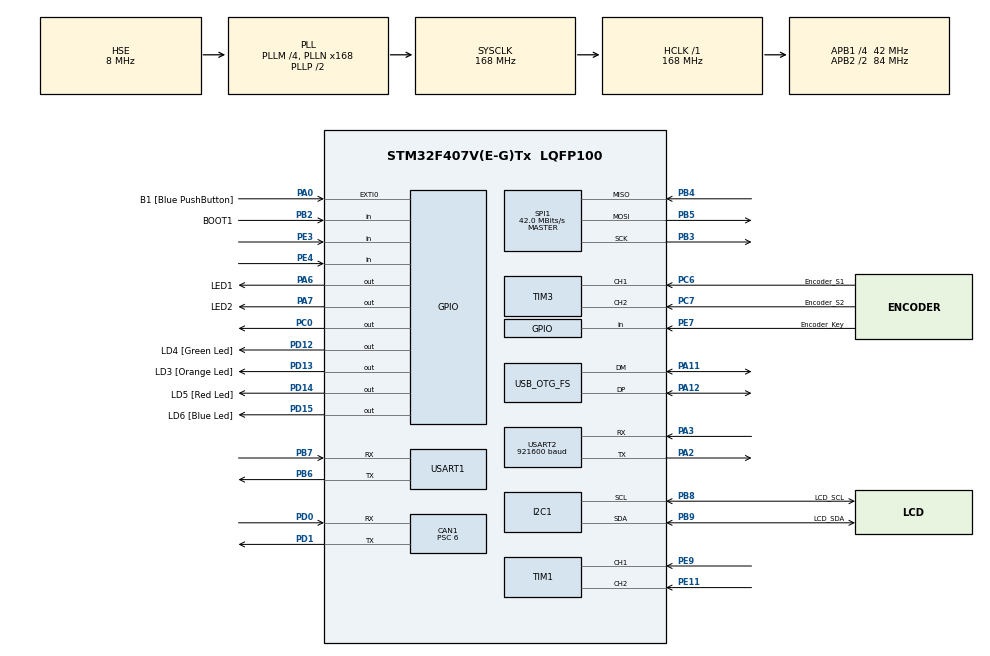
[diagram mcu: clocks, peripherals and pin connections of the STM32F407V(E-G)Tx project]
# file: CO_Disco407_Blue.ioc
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ADC1.Channel-0\#ChannelRegularConversion=ADC_CHANNEL_TEMPSENSOR
ADC1.ExternalTrigConv=ADC_EXTERNALTRIGCONV_T8_TRGO
ADC1.ExternalTrigConvEdge=ADC_EXTERNALTRIGCONVEDGE_FALLING
ADC1.NbrOfConversionFlag=1
ADC1.Rank-0\#ChannelRegularConversion=1
ADC1.SamplingTime-0\#ChannelRegularConversion=ADC_SAMPLETIME_3CYCLES
ADC1.master=1
CAN1.BS1=CAN_BS1_11TQ
CAN1.BS2=CAN_BS2_2TQ
CAN1.CalculateBaudRate=500000
CAN1.CalculateTimeBit=2000
CAN1.CalculateTimeQuantum=142.85714285714286
CAN1.Prescaler=6
Dma.ADC1.5.Direction=DMA_PERIPH_TO_MEMORY
Dma.ADC1.5.FIFOMode=DMA_FIFOMODE_DISABLE
Dma.ADC1.5.Instance=DMA2_Stream4
Dma.ADC1.5.MemDataAlignment=DMA_MDATAALIGN_HALFWORD
Dma.ADC1.5.MemInc=DMA_MINC_ENABLE
Dma.ADC1.5.Mode=DMA_NORMAL
Dma.ADC1.5.PeriphDataAlignment=DMA_PDATAALIGN_HALFWORD
Dma.ADC1.5.PeriphInc=DMA_PINC_DISABLE
Dma.ADC1.5.Priority=DMA_PRIORITY_LOW
Dma.MEMTOMEM.2.Direction=DMA_MEMORY_TO_MEMORY
Dma.MEMTOMEM.2.FIFOMode=DMA_FIFOMODE_ENABLE
Dma.MEMTOMEM.2.FIFOThreshold=DMA_FIFO_THRESHOLD_FULL
Dma.MEMTOMEM.2.Instance=DMA2_Stream0
Dma.MEMTOMEM.2.MemBurst=DMA_MBURST_SINGLE
Dma.MEMTOMEM.2.MemDataAlignment=DMA_MDATAALIGN_BYTE
Dma.MEMTOMEM.2.MemInc=DMA_MINC_ENABLE
Dma.MEMTOMEM.2.Mode=DMA_NORMAL
Dma.MEMTOMEM.2.PeriphBurst=DMA_PBURST_SINGLE
Dma.MEMTOMEM.2.PeriphDataAlignment=DMA_PDATAALIGN_BYTE
Dma.MEMTOMEM.2.PeriphInc=DMA_PINC_ENABLE
Dma.MEMTOMEM.2.Priority=DMA_PRIORITY_VERY_HIGH
Dma.MEMTOMEM.3.Direction=DMA_MEMORY_TO_MEMORY
Dma.MEMTOMEM.3.FIFOMode=DMA_FIFOMODE_ENABLE
Dma.MEMTOMEM.3.FIFOThreshold=DMA_FIFO_THRESHOLD_FULL
Dma.MEMTOMEM.3.Instance=DMA2_Stream5
Dma.MEMTOMEM.3.MemBurst=DMA_MBURST_SINGLE
Dma.MEMTOMEM.3.MemDataAlignment=DMA_MDATAALIGN_HALFWORD
Dma.MEMTOMEM.3.MemInc=DMA_MINC_ENABLE
Dma.MEMTOMEM.3.Mode=DMA_NORMAL
Dma.MEMTOMEM.3.PeriphBurst=DMA_PBURST_SINGLE
Dma.MEMTOMEM.3.PeriphDataAlignment=DMA_PDATAALIGN_HALFWORD
Dma.MEMTOMEM.3.PeriphInc=DMA_PINC_ENABLE
Dma.MEMTOMEM.3.Priority=DMA_PRIORITY_HIGH
Dma.MEMTOMEM.4.Direction=DMA_MEMORY_TO_MEMORY
Dma.MEMTOMEM.4.FIFOMode=DMA_FIFOMODE_ENABLE
Dma.MEMTOMEM.4.FIFOThreshold=DMA_FIFO_THRESHOLD_FULL
Dma.MEMTOMEM.4.Instance=DMA2_Stream3
Dma.MEMTOMEM.4.MemBurst=DMA_MBURST_SINGLE
Dma.MEMTOMEM.4.MemDataAlignment=DMA_MDATAALIGN_WORD
Dma.MEMTOMEM.4.MemInc=DMA_MINC_ENABLE
Dma.MEMTOMEM.4.Mode=DMA_NORMAL
Dma.MEMTOMEM.4.PeriphBurst=DMA_PBURST_SINGLE
Dma.MEMTOMEM.4.PeriphDataAlignment=DMA_PDATAALIGN_WORD
Dma.MEMTOMEM.4.PeriphInc=DMA_PINC_ENABLE
Dma.MEMTOMEM.4.Priority=DMA_PRIORITY_MEDIUM
Dma.Request0=USART2_TX
Dma.Request1=USART2_RX
Dma.Request2=MEMTOMEM
Dma.Request3=MEMTOMEM
Dma.Request4=MEMTOMEM
Dma.Request5=ADC1
Dma.Request6=TIM8_UP
Dma.Request7=TIM3_CH4/UP
Dma.TIM3_CH4/UP.7.Direction=DMA_PERIPH_TO_MEMORY
Dma.TIM3_CH4/UP.7.FIFOMode=DMA_FIFOMODE_DISABLE
Dma.TIM3_CH4/UP.7.Instance=DMA1_Stream2
Dma.TIM3_CH4/UP.7.MemDataAlignment=DMA_MDATAALIGN_HALFWORD
Dma.TIM3_CH4/UP.7.MemInc=DMA_MINC_ENABLE
Dma.TIM3_CH4/UP.7.Mode=DMA_NORMAL
Dma.TIM3_CH4/UP.7.PeriphDataAlignment=DMA_PDATAALIGN_HALFWORD
Dma.TIM3_CH4/UP.7.PeriphInc=DMA_PINC_DISABLE
Dma.TIM3_CH4/UP.7.Priority=DMA_PRIORITY_LOW
Dma.TIM8_UP.6.Direction=DMA_PERIPH_TO_MEMORY
Dma.TIM8_UP.6.FIFOMode=DMA_FIFOMODE_DISABLE
Dma.TIM8_UP.6.Instance=DMA2_Stream1
Dma.TIM8_UP.6.MemDataAlignment=DMA_MDATAALIGN_HALFWORD
Dma.TIM8_UP.6.MemInc=DMA_MINC_ENABLE
Dma.TIM8_UP.6.Mode=DMA_NORMAL
Dma.TIM8_UP.6.PeriphDataAlignment=DMA_PDATAALIGN_HALFWORD
Dma.TIM8_UP.6.PeriphInc=DMA_PINC_DISABLE
Dma.TIM8_UP.6.Priority=DMA_PRIORITY_LOW
Dma.USART2_RX.1.Direction=DMA_PERIPH_TO_MEMORY
Dma.USART2_RX.1.FIFOMode=DMA_FIFOMODE_DISABLE
Dma.USART2_RX.1.Instance=DMA1_Stream5
Dma.USART2_RX.1.MemDataAlignment=DMA_MDATAALIGN_BYTE
Dma.USART2_RX.1.MemInc=DMA_MINC_ENABLE
Dma.USART2_RX.1.Mode=DMA_NORMAL
Dma.USART2_RX.1.PeriphDataAlignment=DMA_PDATAALIGN_BYTE
Dma.USART2_RX.1.PeriphInc=DMA_PINC_DISABLE
Dma.USART2_RX.1.Priority=DMA_PRIORITY_LOW
Dma.USART2_TX.0.Direction=DMA_MEMORY_TO_PERIPH
Dma.USART2_TX.0.FIFOMode=DMA_FIFOMODE_DISABLE
Dma.USART2_TX.0.Instance=DMA1_Stream6
Dma.USART2_TX.0.MemDataAlignment=DMA_MDATAALIGN_BYTE
Dma.USART2_TX.0.MemInc=DMA_MINC_ENABLE
Dma.USART2_TX.0.Mode=DMA_NORMAL
Dma.USART2_TX.0.PeriphDataAlignment=DMA_PDATAALIGN_BYTE
Dma.USART2_TX.0.PeriphInc=DMA_PINC_DISABLE
Dma.USART2_TX.0.Priority=DMA_PRIORITY_LOW
I2C1.I2C_Mode=I2C_Fast
Mcu.Family=STM32F4
Mcu.Name=STM32F407V(E-G)Tx
Mcu.Package=LQFP100
Mcu.UserConstants=LCD_I2C,$$_I2C1_IP_HANDLE_$$;Tim_3_Encoder,$$_TIM3_IP_HANDLE_$$;Tim_1_Encoder,$$_TIM1_IP_HANDLE_$$
NVIC.ADC_IRQn=true\:0\:0\:false\:false\:true\:true\:true\:true
NVIC.DMA1_Stream2_IRQn=true\:0\:0\:false\:false\:true\:false\:true\:true
NVIC.DMA1_Stream5_IRQn=true\:0\:0\:false\:false\:true\:false\:true\:true
NVIC.DMA1_Stream6_IRQn=true\:0\:0\:false\:false\:true\:false\:true\:true
NVIC.DMA2_Stream0_IRQn=true\:0\:0\:false\:false\:true\:false\:true\:true
NVIC.DMA2_Stream1_IRQn=true\:0\:0\:false\:false\:true\:false\:true\:true
NVIC.DMA2_Stream4_IRQn=true\:0\:0\:false\:false\:true\:false\:true\:true
NVIC.I2C1_ER_IRQn=true\:0\:0\:false\:false\:true\:true\:true\:true
NVIC.I2C1_EV_IRQn=true\:0\:0\:false\:false\:true\:true\:true\:true
NVIC.OTG_FS_IRQn=true\:0\:0\:false\:false\:true\:false\:true\:true
NVIC.PriorityGroup=NVIC_PRIORITYGROUP_0
NVIC.RTC_Alarm_IRQn=true\:0\:0\:false\:false\:true\:true\:true\:true
NVIC.TIM3_IRQn=true\:0\:0\:false\:false\:true\:true\:true\:true
NVIC.TIM4_IRQn=true\:0\:0\:false\:false\:true\:true\:true\:true
NVIC.TIM6_DAC_IRQn=true\:0\:0\:false\:false\:true\:true\:true\:true
NVIC.TIM8_UP_TIM13_IRQn=true\:0\:0\:false\:false\:true\:true\:true\:true
NVIC.USART2_IRQn=true\:0\:0\:false\:false\:true\:true\:true\:true
PA0-WKUP.GPIO_Label=B1 [Blue PushButton]
PA0-WKUP.GPIO_ModeDefaultEXTI=GPIO_MODE_IT_FALLING
PA0-WKUP.GPIO_PuPd=GPIO_PULLUP
PA0-WKUP.Signal=GPXTI0
PA11.Mode=Device_Only
PA11.Signal=USB_OTG_FS_DM
PA12.Mode=Device_Only
PA12.Signal=USB_OTG_FS_DP
PA13.GPIO_Label=SWDIO
PA13.Mode=Serial_Wire
PA13.Signal=SYS_JTMS-SWDIO
PA14.GPIO_Label=SWCLK
PA14.Mode=Serial_Wire
PA14.Signal=SYS_JTCK-SWCLK
PA2.Mode=Asynchronous
PA2.Signal=USART2_TX
PA3.Mode=Asynchronous
PA3.Signal=USART2_RX
PA6.GPIO_Label=LED1
PA6.GPIO_PuPd=GPIO_PULLUP
PA6.PinState=GPIO_PIN_SET
PA6.Signal=GPIO_Output
PA7.GPIO_Label=LED2
PA7.GPIO_PuPd=GPIO_PULLUP
PA7.PinState=GPIO_PIN_SET
PA7.Signal=GPIO_Output
PB2.GPIO_Label=BOOT1
PB2.GPIO_Mode=GPIO_MODE_INPUT
PB2.GPIO_PuPd=GPIO_NOPULL
PB2.Signal=GPIO_Input
PB3.Mode=Full_Duplex_Master
PB3.Signal=SPI1_SCK
PB4.Mode=Full_Duplex_Master
PB4.Signal=SPI1_MISO
PB5.Mode=Full_Duplex_Master
PB5.Signal=SPI1_MOSI
PB6.Mode=Asynchronous
PB6.Signal=USART1_TX
PB7.Mode=Asynchronous
PB7.Signal=USART1_RX
PB8.GPIO_Label=LCD_SCL
PB8.Mode=I2C
PB8.Signal=I2C1_SCL
PB9.GPIO_Label=LCD_SDA
PB9.Mode=I2C
PB9.Signal=I2C1_SDA
PC0.PinState=GPIO_PIN_SET
PC0.Signal=GPIO_Output
PC14-OSC32_IN.GPIO_Label=PC14-OSC32_IN
PC14-OSC32_IN.Mode=LSE-External-Oscillator
PC14-OSC32_IN.Signal=RCC_OSC32_IN
PC15-OSC32_OUT.GPIO_Label=PC15-OSC32_OUT
PC15-OSC32_OUT.Mode=LSE-External-Oscillator
PC15-OSC32_OUT.Signal=RCC_OSC32_OUT
PC6.GPIO_Label=Encoder_S1
PC6.GPIO_PuPd=GPIO_PULLUP
PC6.Signal=S_TIM3_CH1
PC7.GPIO_Label=Encoder_S2
PC7.GPIO_PuPd=GPIO_PULLUP
PC7.Signal=S_TIM3_CH2
PD0.Mode=CAN_Activate
PD0.Signal=CAN1_RX
PD1.Mode=CAN_Activate
PD1.Signal=CAN1_TX
PD12.GPIO_Label=LD4 [Green Led]
PD12.GPIO_PuPd=GPIO_NOPULL
PD12.GPIO_Speed=GPIO_SPEED_FREQ_LOW
PD12.Signal=GPIO_Output
PD13.GPIO_Label=LD3 [Orange Led]
PD13.GPIO_PuPd=GPIO_NOPULL
PD13.GPIO_Speed=GPIO_SPEED_FREQ_LOW
PD13.Signal=GPIO_Output
PD14.GPIO_Label=LD5 [Red Led]
PD14.GPIO_PuPd=GPIO_NOPULL
PD14.GPIO_Speed=GPIO_SPEED_FREQ_LOW
PD14.Signal=GPIO_Output
PD15.GPIO_Label=LD6 [Blue Led]
PD15.GPIO_PuPd=GPIO_NOPULL
PD15.GPIO_Speed=GPIO_SPEED_FREQ_LOW
PD15.Signal=GPIO_Output
PE11.GPIO_PuPd=GPIO_PULLUP
PE11.GPIO_Speed=GPIO_SPEED_FREQ_LOW
PE11.Signal=S_TIM1_CH2
PE3.GPIO_PuPd=GPIO_PULLUP
PE3.Signal=GPIO_Input
PE4.GPIO_PuPd=GPIO_PULLUP
PE4.Signal=GPIO_Input
PE7.GPIO_Label=Encoder_Key
PE7.GPIO_PuPd=GPIO_PULLUP
PE7.Signal=GPIO_Input
PE9.GPIO_PuPd=GPIO_PULLUP
PE9.GPIO_Speed=GPIO_SPEED_FREQ_LOW
PE9.Signal=S_TIM1_CH1
PH0-OSC_IN.GPIO_Label=PH0-OSC_IN
PH0-OSC_IN.Mode=HSE-External-Oscillator
PH0-OSC_IN.Signal=RCC_OSC_IN
PH1-OSC_OUT.GPIO_Label=PH1-OSC_OUT
PH1-OSC_OUT.Mode=HSE-External-Oscillator
PH1-OSC_OUT.Signal=RCC_OSC_OUT
ProjectManager.HeapSize=0x800
ProjectManager.StackSize=0x800
ProjectManager.TargetToolchain=STM32CubeIDE
RCC.48MHZClocksFreq_Value=48000000
RCC.AHBFreq_Value=168000000
RCC.APB1CLKDivider=RCC_HCLK_DIV4
RCC.APB1Freq_Value=42000000
RCC.APB1TimFreq_Value=84000000
RCC.APB2CLKDivider=RCC_HCLK_DIV2
RCC.APB2Freq_Value=84000000
RCC.APB2TimFreq_Value=168000000
RCC.CortexFreq_Value=168000000
RCC.HCLKFreq_Value=168000000
RCC.HSE_VALUE=8000000
RCC.HSI_VALUE=16000000
RCC.PLLI2SN=50
RCC.PLLM=4
RCC.PLLN=168
RCC.PLLQ=7
RCC.RCC_RTC_Clock_Source=RCC_RTCCLKSOURCE_LSE
RCC.RCC_RTC_Clock_SourceVirtual=RCC_RTCCLKSOURCE_HSE_DIV25
RCC.RCC_RTC_Clock_Source_FROM_HSE=RCC_RTCCLKSOURCE_HSE_DIV25
RCC.SYSCLKFreq_VALUE=168000000
RCC.SYSCLKSource=RCC_SYSCLKSOURCE_PLLCLK
RCC.VCOOutputFreq_Value=336000000
RTC.Alarm=RTC_ALARM_A
RTC.Alarm_B=RTC_ALARM_B
RTC.Date=21
RTC.Format=RTC_FORMAT_BIN
RTC.Hours=17
RTC.Minutes=30
RTC.Month=RTC_MONTH_JANUARY
RTC.WeekDay=RTC_WEEKDAY_THURSDAY
RTC.Year=25
SH.S_TIM1_CH1.0=TIM1_CH1,Encoder_Interface
SH.S_TIM1_CH2.0=TIM1_CH2,Encoder_Interface
SH.S_TIM3_CH1.0=TIM3_CH1,Encoder_Interface
SH.S_TIM3_CH2.0=TIM3_CH2,Encoder_Interface
SPI1.CalculateBaudRate=42.0 MBits/s
SPI1.Direction=SPI_DIRECTION_2LINES
SPI1.Mode=SPI_MODE_MASTER
SPI1.VirtualType=VM_MASTER
TIM14.Period=999
TIM14.Prescaler=167
TIM4.Period=999
TIM4.Prescaler=167
TIM4.TIM_MasterOutputTrigger=TIM_TRGO_UPDATE
TIM5.Channel-Output\ Compare2\ CH2=TIM_CHANNEL_2
TIM6.Period=9999
TIM6.Prescaler=167
TIM6.TIM_MasterOutputTrigger=TIM_TRGO_UPDATE
TIM8.Period=39999
TIM8.Prescaler=41
TIM8.TIM_MasterOutputTrigger=TIM_TRGO_UPDATE
USART1.VirtualMode=VM_ASYNC
USART2.BaudRate=921600
USART2.StopBits=STOPBITS_2
USART2.VirtualMode=VM_ASYNC
USB_DEVICE.APP_RX_DATA_SIZE-CDC_FS=2048
USB_DEVICE.CLASS_NAME_FS=CDC
USB_DEVICE.VirtualMode-CDC_FS=Cdc
USB_DEVICE.VirtualModeFS=Cdc_FS
USB_OTG_FS.VirtualMode=Device_Only
VP_ADC1_TempSens_Input.Mode=IN-TempSens
VP_ADC1_Vbat_Input.Mode=IN-Vbat
VP_ADC1_Vref_Input.Mode=IN-Vrefint
VP_RTC_VS_RTC_Activate.Mode=RTC_Enabled
VP_RTC_VS_RTC_Alarm_A_Intern.Mode=Alarm A
VP_RTC_VS_RTC_Alarm_B_Intern.Mode=Alarm B
VP_RTC_VS_RTC_Calendar.Mode=RTC_Calendar
VP_TIM14_VS_ClockSourceINT.Mode=Enable_Timer
VP_TIM2_VS_ClockSourceINT.Mode=Internal
VP_TIM4_VS_ClockSourceINT.Mode=Internal
VP_TIM5_VS_ClockSourceINT.Mode=Internal
VP_TIM6_VS_ClockSourceINT.Mode=Enable_Timer
VP_TIM8_VS_ClockSourceINT.Mode=Internal
VP_USB_DEVICE_VS_USB_DEVICE_CDC_FS.Mode=CDC_FS
board=STM32F407G-DISC1

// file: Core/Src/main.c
/* USER CODE BEGIN Header */
/**
  ******************************************************************************
  * @file           : main.c
  * @brief          : Main program body
  ******************************************************************************
  * @attention
  *
  * Copyright (c) 2024 STMicroelectronics.
  * All rights reserved.
  *
  * This software is licensed under terms that can be found in the LICENSE file
  * in the root directory of this software component.
  * If no LICENSE file comes with this software, it is provided AS-IS.
  *
  *
  *
  *			BlueBoard__STM32F407_LCD
  *
  *				NodeID = 0x3f
  *
  ******************************************************************************
  */
/* USER CODE END Header */
#include "main.h"
#include "adc.h"
#include "can.h"
#include "dma.h"
#include "i2c.h"
#include "rtc.h"
#include "spi.h"
#include "tim.h"
#include "usart.h"
#include "usb_device.h"
#include "gpio.h"

/* USER CODE BEGIN Includes */
#include "CO_app_STM32.h"
#include "301/CO_SDOclient.h"
#include "CANopen.h"
#include "OD.h"

#include "format_out.h"
#include "SDO_utils.h"
#include "lcd.h"
#include "Encoder.h"
/* USER CODE END Includes */

/* USER CODE BEGIN PD */
// #define ADC_SAMPLES 10

/* USER CODE END PD */

/* USER CODE BEGIN PV */

RTC_DateTypeDef DateToUpdate;//  = {02, 01, 21, 25};  //; ={0,0,0};   //21jan2025
RTC_TimeTypeDef sTime;// = {19, 24, 0,0,0,0,0};; // ={0,0,0};      ///19h16min
//					    0,//uint8_t Hours; Max_Data=12 if the RTC_HourFormat_12; Max_Data=23 if the RTC_HourFormat_24
//						0,//uint8_t Minutes; Max_Data = 59
//						0,//uint8_t Seconds; Max_Data = 59 */
//						0,//uint8_t TimeFormat;Specifies the RTC AM/PM Time.
//						0,//uint32_t SecondFraction;parameter corresponds to a time unit range between [0-1] Second with [1 Sec / SecondFraction +1] granularity
//						0,//uint32_t DayLightSaving;  This interface is deprecated.
//						0//uint32_t StoreOperation;

uint8_t Tx_Array[16]={0x51,0x62,0x73,0x84,0x55,0x46,0x87,0x18,0x29,0x10,0x11,0x12,0x13,0x14,0x15,0x33};
uint8_t Rx_Array[16]={0};
uint32_t Array_32u[16]={0};
uint8_t Array_8u[16]={0x54,0x34,0x21,0xea,0xf3,0x7a,0xd4,0x46};
char Message_to_Terminal[128]={};
char Message_to_Terminal_1[128]={};
char Message_to_Terminal_2[128]={};
char Message_to_Terminal_3[128]={};
uint8_t Array_from_Terminal[128]={0};
uint8_t Length_of_Message;
uint8_t Length_of_Ext_Var=0;
uint8_t Local_Count=0;
uint64_t Count_of_while1=0;
float ChipTemperature;

CANopenNodeSTM32    canOpenNodeSTM32;
CO_SDO_abortCode_t  Code_return_SDO;
CAN_TxHeaderTypeDef Tx_Header;
uint32_t            TxMailbox;
uint32_t            tmp32u_1   = 0x1e1f1a1b;
uint32_t            tmp32u_0   = 0x0e0f0a0b;
uint64_t            tmp64u_0   = 0x0e1f1a1b56789a;
uint64_t            tmp64u_1   = 0x0e1f1a1b56789a;
uint32_t            Ticks;
uint32_t            Ticks_1;
char String_H[]={"String_for_Test_UART_"};
char String_L[]={"String_for_Test_UART_"};
char buff[16]={8,8,8,8,8,8,8,8,8,8,8,8,8,8,8,8};
//const	char XPOMOC[] = "XPOMOC_CANOpen";
//const	char WC[] = "LSS_Master";
char String_LCD[32];
char String_2_UART[128];
uint16_t L_str;
int16_t currCounter=0 ;
int32_t prevCounter =0;
CO_ReturnError_t Err_return;

uint8_t Menu_step=0;
const uint16_t Datum[64]={0,0,
						  0x30,0x31, 0x30,0x32, 0x30,0x33, 0x30,0x34, 0x30,0x35, 0x30,0x36, 0x30,0x37, 0x30,0x38, 0x30,0x39, 0x31,0x30,
					      0x31,0x31, 0x31,0x32, 0x31,0x33, 0x31,0x34, 0x31,0x35, 0x31,0x36, 0x31,0x37, 0x31,0x38, 0x31,0x39, 0x32,0x30,
					      0x32,0x31, 0x32,0x32, 0x32,0x33, 0x32,0x34, 0x32,0x35, 0x32,0x36, 0x32,0x37, 0x32,0x38, 0x32,0x39, 0x33,0x30,
					      0x33,0x31
					     };

uint8_t Node_ID_Read=0xff;
uint32_t Data_u32;
/* USER CODE END PV */

void SystemClock_Config(void);
/* USER CODE BEGIN PFP */

void CAN_interface_Test(void);
void UART_interface_Test(void);
void Board_Name_to_Terminal(void);
void CO_Init_Return_State(uint16_t Returned_Code);
void SDO_abortCode_ASCII_to_Terminal(void);
CO_SDO_abortCode_t SDO_Read_Write_Read(void);
void TPDO_send(uint32_t Period_ms);

//void Callback_GTW_Read();

int16_t Encoder_to_LCD(void);
int16_t LCD_Menu_Encoder_with_Key(int16_t* Var_0,int16_t* Var_1,int16_t* Var_2);
Encoder_Status encoderStatus;

/* USER CODE END PFP */

/* USER CODE BEGIN 0 */

/* Timer interrupt function executes every 1 ms */
void
HAL_TIM_PeriodElapsedCallback(TIM_HandleTypeDef* htim) {
    if (htim == canopenNodeSTM32->timerHandle) {
        canopen_app_interrupt();
    }
}

/* USER CODE END 0 */

int main(void)
{

  /* MCU Configuration--------------------------------------------------------*/

  /* Reset of all peripherals, Initializes the Flash interface and the Systick. */
  HAL_Init();

  /* Configure the system clock */
  SystemClock_Config();

  /* Initialize all configured peripherals */
  MX_GPIO_Init();
  MX_DMA_Init();
  MX_TIM14_Init();
  MX_USART1_UART_Init();
  MX_USB_DEVICE_Init();
  MX_USART2_UART_Init();
  MX_TIM4_Init();
  MX_CAN1_Init();
  MX_RTC_Init();
  MX_TIM6_Init();
  MX_ADC1_Init();
  MX_TIM8_Init();
  MX_I2C1_Init();
  MX_TIM3_Init();
  MX_TIM2_Init();
  MX_TIM5_Init();
  MX_TIM1_Init();
  MX_SPI1_Init();
  /* USER CODE BEGIN 2 */

  /* CANHandle : Pass in the CAN Handle to this function and it wil be used for all CAN Communications. It can be FDCan or CAN
   * and CANOpenSTM32 Driver will take of care of handling that
   * HWInitFunction : Pass in the function that initialize the CAN peripheral, usually MX_CAN_Init
   * timerHandle : Pass in the timer that is going to be used for generating 1ms interrupt for tmrThread function,
   * please note that CANOpenSTM32 Library will override HAL_TIM_PeriodElapsedCallback function, if you also need this function
   * in your codes, please take required steps
   * desiredNodeID : This is the Node ID that you ask the CANOpen stack to assign to your device, although it might not always
   * be the final NodeID, after calling canopen_app_init() you should check ActiveNodeID of CANopenNodeSTM32 structure for assigned Node ID.
   * baudrate: This is the baudrate you've set in your CubeMX Configuration
   *
   */

//	HAL_RTC_SetTime(&hrtc, &sTime,        RTC_FORMAT_BIN);
//	HAL_RTC_SetDate(&hrtc, &DateToUpdate, RTC_FORMAT_BIN);

	HAL_RTC_GetDate(&hrtc, &DateToUpdate, RTC_FORMAT_BIN);
	HAL_RTC_GetTime(&hrtc, &sTime,        RTC_FORMAT_BIN);

 Encoder_Config();  // configure the encoders timer
 Encoder_Init();    // start the encoders timer
 LCD_ini();
// Logo_to_1602LCD();
Datum_to_1602LCD();
//   GPIO_Blink_Test(GPIOA, GPIO_PIN_7|GPIO_PIN_6, 25, 33); 						// for_STM32F4XX_Ali_pcb
    GPIO_Blink_Test(GPIOD, GPIO_PIN_12|GPIO_PIN_13|GPIO_PIN_14|GPIO_PIN_15, 25, 33);// blink_at_Discovery_EVB
//    UART_interface_Test(); //while(1){;}
//    CAN_interface_Test();

	HAL_TIM_Base_Start_IT(&htim8);
    HAL_UART_Receive_DMA(&huart2, Array_from_Terminal, sizeof Array_from_Terminal );
    HAL_Delay(1500);
    Board_Name_to_Terminal();
	HAL_TIM_Base_Start_IT(&htim4);

//	CANopenNodeSTM32 canOpenNodeSTM32;//перемещено вверх в глобальные переменнные
	canOpenNodeSTM32.CANHandle = &hcan1;
	canOpenNodeSTM32.HWInitFunction = MX_CAN1_Init;
	canOpenNodeSTM32.timerHandle = &htim4;
	canOpenNodeSTM32.desiredNodeID = BlueBoard__STM32F407_LCD;//0x3f;
	canOpenNodeSTM32.baudrate = 125*4;
uint16_t Ret_value = canopen_app_init(&canOpenNodeSTM32);
	CO_Init_Return_State(Ret_value );

	 //SDO_Read_Write_Read();  while (1){};

Err_return = CO_LSSmaster_init(
				  	  	  	  canOpenNodeSTM32.canOpenStack->LSSmaster,			//CO_LSSmaster_t* LSSmaster,
							  CO_LSSmaster_DEFAULT_TIMEOUT,						//uint16_t timeout_ms,
							  canOpenNodeSTM32.canOpenStack->CANmodule ,		//CO_CANmodule_t* CANdevRx,
							  canOpenNodeSTM32.canOpenStack->RX_IDX_LSS_MST,	//uint16_t CANdevRxIdx,
							  CO_CAN_ID_LSS_SLV,								//uint16_t CANidLssSlave,
							  canOpenNodeSTM32.canOpenStack->CANmodule ,		//CO_CANmodule_t* CANdevTx,
							  canOpenNodeSTM32.canOpenStack->TX_IDX_LSS_MST,	//uint16_t CANdevTxIdx,
							  CO_CAN_ID_LSS_MST									//uint16_t CANidLssMaster
							  );

L_str = LSS_Init_Message_Return(Err_return, String_2_UART);

//		 uint16_t StateLSS =  canOpenNodeSTM32.canOpenStack->LSSmaster->state ;
//		 L_str = sprintf(String_2_UART,"canOpenNodeSTM32.canOpenStack->LSSmaster->state=0x%04x;\n\r",StateLSS);
		  OD_PERSIST_COMM.x6000_disco_Blue_VAR32_6000_TX=0;
		  Local_Count=0;

  /* USER CODE END 2 */

  /* Infinite loop */
  /* USER CODE BEGIN WHILE */

		  int16_t VSar_0=0, VSar_1=0, VSar_2=0;
		  LCD_Menu_Encoder_with_Key( &VSar_0, &VSar_1, &VSar_2);
		  while (1)
		  {
		  Encoder_to_LCD();
		  RTC_update_and_Terminal(2000);
		  // HAL_GPIO_WritePin(GPIOA, GPIO_PIN_7, !canOpenNodeSTM32.outStatusLEDRed  );
	      // HAL_GPIO_WritePin(GPIOA, GPIO_PIN_6, !canOpenNodeSTM32.outStatusLEDGreen);
//		  HAL_GPIO_WritePin(GPIOD, GPIO_PIN_12, !canOpenNodeSTM32.outStatusLEDGreen);
//		  HAL_GPIO_WritePin(GPIOD, GPIO_PIN_14, !canOpenNodeSTM32.outStatusLEDRed  );

		  canopen_app_process();

    // TPDO_send(1700); /// uint32_t Period_ms

    /* USER CODE END WHILE */

  }
}

void SystemClock_Config(void)
{
  RCC_OscInitTypeDef RCC_OscInitStruct = {0};
  RCC_ClkInitTypeDef RCC_ClkInitStruct = {0};

  /** Configure the main internal regulator output voltage
  */
  __HAL_RCC_PWR_CLK_ENABLE();
  __HAL_PWR_VOLTAGESCALING_CONFIG(PWR_REGULATOR_VOLTAGE_SCALE1);

  /** Initializes the RCC Oscillators according to the specified parameters
  * in the RCC_OscInitTypeDef structure.
  */
  RCC_OscInitStruct.OscillatorType = RCC_OSCILLATORTYPE_HSE|RCC_OSCILLATORTYPE_LSE;
  RCC_OscInitStruct.HSEState = RCC_HSE_ON;
  RCC_OscInitStruct.LSEState = RCC_LSE_ON;
  RCC_OscInitStruct.PLL.PLLState = RCC_PLL_ON;
  RCC_OscInitStruct.PLL.PLLSource = RCC_PLLSOURCE_HSE;
  RCC_OscInitStruct.PLL.PLLM = 4;
  RCC_OscInitStruct.PLL.PLLN = 168;
  RCC_OscInitStruct.PLL.PLLP = RCC_PLLP_DIV2;
  RCC_OscInitStruct.PLL.PLLQ = 7;
  if (HAL_RCC_OscConfig(&RCC_OscInitStruct) != HAL_OK)
  {
    Error_Handler();
  }

  /** Initializes the CPU, AHB and APB buses clocks
  */
  RCC_ClkInitStruct.ClockType = RCC_CLOCKTYPE_HCLK|RCC_CLOCKTYPE_SYSCLK
                              |RCC_CLOCKTYPE_PCLK1|RCC_CLOCKTYPE_PCLK2;
  RCC_ClkInitStruct.SYSCLKSource = RCC_SYSCLKSOURCE_PLLCLK;
  RCC_ClkInitStruct.AHBCLKDivider = RCC_SYSCLK_DIV1;
  RCC_ClkInitStruct.APB1CLKDivider = RCC_HCLK_DIV4;
  RCC_ClkInitStruct.APB2CLKDivider = RCC_HCLK_DIV2;

  if (HAL_RCC_ClockConfig(&RCC_ClkInitStruct, FLASH_LATENCY_5) != HAL_OK)
  {
    Error_Handler();
  }
}

/* USER CODE BEGIN 4 */

////////////////////////////////////////////////////////////
void CAN_interface_Test(void)
{
 Tx_Header.IDE    = CAN_ID_STD;
 Tx_Header.ExtId  = 0;
 Tx_Header.DLC    = 8;
 Tx_Header.StdId  = 0x7EC;
 Tx_Header.RTR    = CAN_RTR_DATA;
 HAL_CAN_Start(&hcan1);  HAL_Delay(1500);

 if(HAL_CAN_AddTxMessage( &hcan1,
   		               	  &Tx_Header,
						  Tx_Array, &TxMailbox )==HAL_OK
   )
	  {  /* Wait transmission complete */
	  //while(HAL_CAN_GetTxMailboxesFreeLevel(&hcan1) != 3) {}
		  for(uint8_t cnt=0;cnt<22;cnt++)
		  {
		   HAL_GPIO_TogglePin(LED2_GPIO_Port, LED2_Pin);//LED2_Pin//yellow
		   HAL_Delay(46);
		  }
	  }
}

///////////////////////////////////////////////////
void UART_interface_Test(void)
{
	// Test_Terminal__ASCII
	  Length_of_Message = sprintf( Message_to_Terminal,
			  	  	  	  	  	  	  "Rx_Array[0]=0x%x, Rx_Array[1]= 0x%x, Rx_Array[2]= 0x%x, Rx_Array[3]= 0x%x \n\r",
									   Rx_Array[0],Rx_Array[1],Rx_Array[2],Rx_Array[3]
								 );
	  TerminalInterface.gState = HAL_UART_STATE_READY;
//	  HAL_UART_Transmit_DMA( &TerminalInterface, (uint8_t*)Message_to_Terminal, Length_of_Message);
	  HAL_UART_Transmit( &TerminalInterface, (uint8_t*)Message_to_Terminal, Length_of_Message,50);

//    Test_Terminal__HEX
//
//	  HAL_Delay(500);
//	  Local_Count = sizeof String_L;
//	  String_L[Local_Count-1] = 0x0d;
//	  TerminalInterface.gState = HAL_DMA_STATE_READY;
//	  HAL_UART_Transmit_DMA( &TerminalInterface, (uint8_t*)(String_L), Local_Count);

}

//////////////////////////////////////////////////
void Board_Name_to_Terminal(void)
{
	const char Message_0[]={"   ******************************************\n\r"};
//	const char Message_1[]={"*  Upper Blackboard  STM32F4XX___Ali     *\n\r"};
//	const char Message_1[]={"*  Lower Blackboard  STM32F4XX___Ali     *\n\r"};
//  const char Message_1[]={"*  STM32F4DISCOVERY Green_board China    *\n\r"};
//	const char Message_1[]={"*  STM32F4DISCOVERY Blue_board Original  *\n\r"};
	const char Message_1[]={"*  BlueBoard_STM32F407_LCD_Original_2211 *\n\r"};
//  const char Message_1[]={"*  STM32F4DISCOVERY Green_board Original *\n\r"};
//  const char Message_1[]={"*  Blackboard  STM32F4XX___Ali with LCD  *\n\r"};
	char Array_for_Messages[128]={};
	uint16_t Msg_Length;
//	uint32_t Chip_ID_96bit[4]={};
//	uint16_t  *pChip_ID_96bit =(uint16_t*)Chip_ID_96bit ;

//	Chip_ID_96bit[0] = HAL_GetUIDw0();
//	Chip_ID_96bit[1] = HAL_GetUIDw1();
//	Chip_ID_96bit[2] = HAL_GetUIDw2();

//	 uint8_t Sekunden=0;
//	 uint8_t Minuten=0;
//	 uint8_t Uhr=0;

	Msg_Length = sizeof(Message_0);
	while(TerminalInterface.gState != HAL_UART_STATE_READY){;}
	HAL_UART_Transmit_DMA( &TerminalInterface, (uint8_t*)Message_0, Msg_Length);

	Msg_Length = sizeof(Message_1);
	while(TerminalInterface.gState != HAL_UART_STATE_READY){;}
	HAL_UART_Transmit_DMA( &TerminalInterface, (uint8_t*)Message_1, Msg_Length);

	while(TerminalInterface.gState != HAL_UART_STATE_READY){;}
	Msg_Length = sprintf( Array_for_Messages,
			  	  	  	  "*  SystemClock = %d MHz                 *\n\r",
						  (uint16_t)(HAL_RCC_GetSysClockFreq()/1000000)
						);
	HAL_UART_Transmit_DMA( &TerminalInterface, (uint8_t*)Array_for_Messages, Msg_Length);

	while(TerminalInterface.gState != HAL_UART_STATE_READY){;}
	Msg_Length = sprintf( Array_for_Messages,
			  	  	  	  "   *  Unical_ID %X%X%X%X%X%X        *\n\r",
						  (uint16_t)(HAL_GetUIDw2()>>16),(uint16_t)(HAL_GetUIDw2()),
						  (uint16_t)(HAL_GetUIDw1()>>16),(uint16_t)(HAL_GetUIDw1()),
						  (uint16_t)(HAL_GetUIDw0()>>16),(uint16_t)(HAL_GetUIDw0())
						);
	HAL_UART_Transmit_DMA( &TerminalInterface, (uint8_t*)Array_for_Messages, Msg_Length);

	while(TerminalInterface.gState != HAL_UART_STATE_READY){;}
	Msg_Length = sprintf( Array_for_Messages,
			  	  	  	  "   *  Device identifier %X%X                *\n\r",
						  (uint16_t)(HAL_GetDEVID()>>16), (uint16_t)(HAL_GetDEVID() & 0x0000FFFF)
						);
	HAL_UART_Transmit_DMA( &TerminalInterface, (uint8_t*)Array_for_Messages, Msg_Length);

	while(TerminalInterface.gState != HAL_UART_STATE_READY){;}
	Msg_Length = sprintf( Array_for_Messages,
			  	  	  	  "   *  Device revision identifier %X%X      *\n\r",
						  (uint16_t)( HAL_GetREVID()>>16 ),
						  (uint16_t)( HAL_GetREVID() & 0x0000FFFF )
						);
	HAL_UART_Transmit_DMA( &TerminalInterface, (uint8_t*)Array_for_Messages, Msg_Length);

///////////////////////TimeStamp___DataStamp
	Get_Time();
	while(TerminalInterface.gState != HAL_UART_STATE_READY){;}
	Get_Date();
	while(TerminalInterface.gState != HAL_UART_STATE_READY){;}

///////////////Temperature //////////////////////////////////////////
//	while(TerminalInterface.gState != HAL_UART_STATE_READY){;}
//	extern uint16_t adc_buffer[];
//	ChipTemperature = (float)process_adc_buffer(adc_buffer);;
//	Msg_Length = sprintf( Array_for_Messages,
//			  	  	  	  "   *  Temperature %03.2f                      *\n\r",
//						  ChipTemperature );
//	HAL_UART_Transmit_DMA( &TerminalInterface, (uint8_t*)Array_for_Messages, Msg_Length);

///**********************Asterics
	while(TerminalInterface.gState != HAL_UART_STATE_READY){;}
	Msg_Length = sizeof(Message_0);
	HAL_UART_Transmit_DMA( &TerminalInterface, (uint8_t*)Message_0, Msg_Length);

	while(TerminalInterface.gState != HAL_UART_STATE_READY){;}
	Array_for_Messages[0]=0x0a;		Array_for_Messages[1]=0x0d;
	Array_for_Messages[2]=0x0a;		Array_for_Messages[3]=0x0d;
	Array_for_Messages[4]=0x0a;		Array_for_Messages[5]=0x0d;
	HAL_UART_Transmit_DMA( &TerminalInterface, (uint8_t*)(Array_for_Messages), 6);
	while(TerminalInterface.gState != HAL_UART_STATE_READY){;}

}

//////////////////////////////////////////////////
void CO_Init_Return_State(uint16_t Returned_Code)
{
	uint16_t Lngth_of_Message;
	char Msg_2_Terminal[400];
//extern uint32_t *heapMemoryUsed;
	   Lngth_of_Message = sprintf( Msg_2_Terminal,
		  	  	  "   *  CANopenNodeSTM32 canOpenNodeSTM32;        *\n\r"
		  	  	  "   *  .CANHandle = &hcan1;                      *\n\r"
		  	  	  "   *  .HWInitFunction = MX_CAN1_Init            *\n\r"
		  	  	  "   *  .timerHandle = &htim4                     *\n\r"
		  	  	  "   *  .baudrate = 500kbps                       *\n\r"
		  	  	  "   *  .desiredNodeID = CO_Disco407_Blue;//0x3b; *\n\r"
		  	  	  "   *  canopen_app_init(&canOpenNodeSTM32);      * \n\r\n\r"
			   );
		HAL_UART_Transmit_DMA( &TerminalInterface, (uint8_t*)Msg_2_Terminal, Lngth_of_Message);
		while(TerminalInterface.gState != HAL_UART_STATE_READY){;}

	   if (Returned_Code==0){
	     uint8_t Msg_0[128];// ="  canopen_app_init OK !\n\r\n\r";
	   Lngth_of_Message = sizeof(Msg_0);
	   Lngth_of_Message = sprintf( (char*)Msg_0," \n\r");
	   	  while(TerminalInterface.gState != HAL_UART_STATE_READY){;}
	   	  HAL_UART_Transmit_DMA( &TerminalInterface, Msg_0, Lngth_of_Message);
	   	 }else if(Returned_Code==1) {
	   		const uint8_t Msg_1[]="Error: Can't allocate memory!\n\r\n\r";
	   		Lngth_of_Message = sizeof(Msg_1);
	   		 while(TerminalInterface.gState != HAL_UART_STATE_READY){;}
	   		  HAL_UART_Transmit_DMA( &TerminalInterface, Msg_1, Lngth_of_Message);
	   		 }else if(Returned_Code==2) {
	   			const uint8_t Msg_2[]="Error: Storage %d ! \n\r\n\r";
	   			Lngth_of_Message = sizeof(Msg_2);
	   			 while(TerminalInterface.gState != HAL_UART_STATE_READY){;}
	   			  HAL_UART_Transmit_DMA( &TerminalInterface, Msg_2, Lngth_of_Message);
	   			 }else{;}

		while(TerminalInterface.gState != HAL_UART_STATE_READY){;}
}

///////////////////////////////////////////////////
void SDO_abortCode_ASCII_to_Terminal(void)
{
char Message_2_Terminal_0[128];
uint16_t Message_Length;
while(TerminalInterface.gState != HAL_UART_STATE_READY){;}
Message_Length = SDO_abortCode_to_String(Code_return_SDO,  Message_2_Terminal_0);
HAL_UART_Transmit_DMA( &TerminalInterface, (uint8_t*)Message_2_Terminal_0, Message_Length);
while(TerminalInterface.gState != HAL_UART_STATE_READY){;}
}

//////////////////////////////////////////

CO_SDO_abortCode_t SDO_Read_Write_Read(void)
{

	Code_return_SDO = read_SDO (
			    canOpenNodeSTM32.canOpenStack->SDOclient,
			  	0x3d,										//remote desiredNodeID Upper_F407XX
				0x6004,										//Index_of_OD_variable_at_remote_NodeID_6004_u64
				0x00,										//Sub_Index_of_OD_variable
				Rx_Array,									//Save_Received_Data_to Local_Array
				8,											//Number_of_Bytes_to_read
				(size_t*)&Length_of_Ext_Var ); HAL_Delay(100);

#if 1

		while(TerminalInterface.gState != HAL_UART_STATE_READY){;}
		Length_of_Message = sprintf( Message_to_Terminal,
		  	  	                     "\r EXECUTED read_SDO(...); for the first time\n\r "
                  "by canOpenNodeSTM32.canOpenStack->SDOclient\n\r");

		HAL_UART_Transmit_DMA( &TerminalInterface, (uint8_t*)Message_to_Terminal, Length_of_Message);HAL_Delay(10);

		while(TerminalInterface.gState != HAL_UART_STATE_READY){;}
		Length_of_Message = sprintf( Message_to_Terminal_3,
                "from RemoteNode=0x3d OD_Index=0x6004_u64 SubIndex=0x0\n\r and Save to \n\r"
				"Rx_Array={0x%X,0x%X,0x%X,0x%X,0x%X,0x%X,0x%X,0x%X} \n\r",
				Rx_Array[0],Rx_Array[1],Rx_Array[2],Rx_Array[3],
				Rx_Array[4],Rx_Array[5],Rx_Array[6],Rx_Array[7]);
		HAL_UART_Transmit_DMA( &TerminalInterface, (uint8_t*)Message_to_Terminal_3, Length_of_Message);
		while(TerminalInterface.gState != HAL_UART_STATE_READY){;}
		SDO_abortCode_ASCII_to_Terminal();		HAL_Delay(10);
#endif

#if 2
		while(TerminalInterface.gState != HAL_UART_STATE_READY){;}
		Length_of_Message = sprintf( Message_to_Terminal_2, "   \n\r Run write_SDO(.....);\n\r"
														  " write_SDO  by "
                  	  	  	  	  	  	  	  	  	  	  "canOpenNodeSTM32.canOpenStack->SDOclient\n\r");
		Message_to_Terminal_2[0]=0x08;
		Message_to_Terminal_2[1]=0x08;
		Message_to_Terminal_2[2]=0x08;
		HAL_UART_Transmit_DMA( &TerminalInterface, (uint8_t*)Message_to_Terminal_2, Length_of_Message);HAL_Delay(10);

		while(TerminalInterface.gState != HAL_UART_STATE_READY){;}
		Length_of_Message = sprintf( Message_to_Terminal_1,
                "Get Data \n\r from Local\n\r Array_8u={0x%X,0x%X,0x%X,0x%X,0x%X,0x%X,0x%X,0x%X} \n\r",
				Array_8u[0],Array_8u[1],Array_8u[2],Array_8u[3],
				Array_8u[4],Array_8u[5],Array_8u[6],Array_8u[7]);
		HAL_UART_Transmit_DMA( &TerminalInterface, (uint8_t*)Message_to_Terminal_1, Length_of_Message);
		while(TerminalInterface.gState != HAL_UART_STATE_READY){;}
		HAL_Delay(10);

		while(TerminalInterface.gState != HAL_UART_STATE_READY){;}
		Length_of_Message = sprintf( Message_to_Terminal_2,
                "and \n\r write to\n\r"
                "OD_Index=0x6004 SubIndex=0x0E  @ Remote Node_0x3d\n\r");
		HAL_UART_Transmit_DMA( &TerminalInterface, (uint8_t*)Message_to_Terminal_2, Length_of_Message);
		while(TerminalInterface.gState != HAL_UART_STATE_READY){;}
		HAL_Delay(10);

#endif//2

Code_return_SDO = write_SDO(
				canOpenNodeSTM32.canOpenStack->SDOclient,
				0x3d,										//remote desiredNodeID Upper_F407XX
				0x6004,										//Index_of_OD_variable_at_remote_NodeID_6004_u64
				0x00,										//Sub_Index_of_OD_variable
				Array_8u,									//Source_of_data
				4);
HAL_Delay(50);

while(TerminalInterface.gState != HAL_UART_STATE_READY){;}
SDO_abortCode_ASCII_to_Terminal();

Code_return_SDO = read_SDO (
  			    canOpenNodeSTM32.canOpenStack->SDOclient,
				0x3d,										//remote desiredNodeID Upper_F407XX
				0x6004,										//Index_of_OD_variable_at_remote_NodeID_6004_u64
  				0x00,										//Sub_Index_of_OD_variable
  				Rx_Array,									//Saved_Received_Data
  				4,											//Number_of_Byte_to_read
  				(size_t*)&Length_of_Ext_Var );HAL_Delay(50);

#if 3

		while(TerminalInterface.gState != HAL_UART_STATE_READY){;}
		Length_of_Message = sprintf( Message_to_Terminal_2,
		  	  	                     "   \n\r EXECUTED read_SDO(...); for the SECOND time\n\r");
		Message_to_Terminal_2[0]=0x08;
		Message_to_Terminal_2[1]=0x08;
		Message_to_Terminal_2[2]=0x08;
		HAL_UART_Transmit_DMA( &TerminalInterface, (uint8_t*)Message_to_Terminal_2, Length_of_Message);

		while(TerminalInterface.gState != HAL_UART_STATE_READY){;}
		Length_of_Message = sprintf( Message_to_Terminal_1,
                " Read NEW DATA from Node_0x3d OD_Index=0x6004 SubIndex=0x0E\n\r"
                "and\n\r Save to\n\r");
		HAL_UART_Transmit_DMA( &TerminalInterface, (uint8_t*)Message_to_Terminal_1, Length_of_Message);

		while(TerminalInterface.gState != HAL_UART_STATE_READY){;}
		Length_of_Message = sprintf( Message_to_Terminal,
                "Rx_Array={0x%X,0x%X,0x%X,0x%X,0x%X,0x%X,0x%X,0x%X} \n\r",
				Array_8u[0],Array_8u[1],Array_8u[2],Array_8u[3],
				Array_8u[4],Array_8u[5],Array_8u[6],Array_8u[7]);
		HAL_UART_Transmit_DMA( &TerminalInterface, (uint8_t*)Message_to_Terminal, Length_of_Message); HAL_Delay(10);

SDO_abortCode_ASCII_to_Terminal();
 HAL_Delay(50);
#endif//3
 return (Code_return_SDO);
}
/////////////////////////////////////////////////////////////////////

  void TPDO_send(uint32_t Period_ms) {
		  if(HAL_GetTick() - Ticks>Period_ms)
		  {
			Ticks = HAL_GetTick();
			CO_TPDOsendRequest(&canOpenNodeSTM32.canOpenStack->TPDO[0] );
		  }
   }

/////////////////////////////////////////////////////////////////////
  int16_t Encoder_to_LCD(void)
  {
		encoderStatus = Encoder_Get_Status();

		  switch(encoderStatus) {
		    case Incremented:
		    	currCounter++;
				HAL_GPIO_WritePin(LED1_GPIO_Port, LED1_Pin, GPIO_PIN_RESET);
				sprintf(String_LCD,"%04d",currCounter);
				LCD_SetPos(11, 0);
				HAL_Delay(10);
				LCD_String(String_LCD);HAL_Delay(10);

				L_str=	snprintf(buff, sizeof(buff), "\n\r %04d ", currCounter);
				while(TerminalInterface.gState != HAL_UART_STATE_READY ){;}
				HAL_UART_Transmit(&TerminalInterface, (uint8_t*)buff, L_str,16);
				HAL_GPIO_WritePin(LED1_GPIO_Port, LED1_Pin, GPIO_PIN_SET  );
		      break;
		    case Decremented:
		    	currCounter--;
				HAL_GPIO_WritePin(LED2_GPIO_Port, LED2_Pin, GPIO_PIN_RESET);
				sprintf(String_LCD,"%04d",currCounter);
				LCD_SetPos(11,0);HAL_Delay(10);

				LCD_String(String_LCD);HAL_Delay(10);

				L_str=	snprintf(buff, sizeof(buff), "\n\r %04d ", currCounter);
				while(TerminalInterface.gState != HAL_UART_STATE_READY ){;}
				HAL_UART_Transmit(&TerminalInterface, (uint8_t*)buff, L_str,16);
				HAL_GPIO_WritePin(LED2_GPIO_Port, LED2_Pin, GPIO_PIN_SET  );
		      break;

		    case Neutral:

		    	break;
		    default: break;
		  }///switch(encoderStatus)

		    	if(HAL_GetTick()-Ticks_1 >1500){
											//Ticks_1=HAL_GetTick();
											//Get_Time_to_LCD(0,1);
		    								}

		    	// RTC_update_and_Terminal(1999);
		    	return (currCounter);
  }

  /////////////////////////////////////////////////////////////////////
    int16_t LCD_Menu_Encoder_with_Key(int16_t* Var_0,int16_t* Var_1,int16_t* Var_2)
    {
    	uint32_t Button_pressed;
    	uint16_t L_string;
    	char String_to_UART[32];
    	char String_0_to_LCD[20];
    	char String_1_to_LCD[20];
    	static uint16_t Menu_Enter=0;
    	uint32_t Timeout;
    	uint16_t Step;

    	HAL_GPIO_WritePin(GPIOD, GPIO_PIN_12, GPIO_PIN_RESET);
    	HAL_GPIO_WritePin(GPIOD, GPIO_PIN_13, GPIO_PIN_RESET);
    	HAL_GPIO_WritePin(GPIOD, GPIO_PIN_14, GPIO_PIN_RESET);
    	HAL_GPIO_WritePin(GPIOD, GPIO_PIN_15, GPIO_PIN_RESET);
    	Timeout = HAL_GetTick();
    	Step=0;
    	if(HAL_GPIO_ReadPin(Encoder_Key_GPIO_Port, Encoder_Key_Pin)==GPIO_PIN_RESET)
    	{
    		Button_pressed = HAL_GetTick();
    		while(HAL_GPIO_ReadPin(Encoder_Key_GPIO_Port, Encoder_Key_Pin)==GPIO_PIN_RESET)
    		{
    			if(HAL_GPIO_ReadPin(Encoder_Key_GPIO_Port, Encoder_Key_Pin)==GPIO_PIN_RESET)
    			{HAL_GPIO_WritePin(GPIOD, GPIO_PIN_13, GPIO_PIN_SET);}else
    			{HAL_GPIO_WritePin(GPIOD, GPIO_PIN_13, GPIO_PIN_RESET);}

    			if(Button_pressed - HAL_GetTick() > 4321){ Menu_Enter=1; }// break;
				 else {	Menu_Enter=0;
						Button_pressed = HAL_GetTick();
				 	 	 }
				if(HAL_GetTick()-Timeout>7654){LCD_Clear();HAL_Delay(10);
												return currCounter;}//exit_from_menu_after_timeout
    		}//while(HAL_GPIO_ReadPin
    		Button_pressed = HAL_GetTick();
    		while(HAL_GPIO_ReadPin(Encoder_Key_GPIO_Port, Encoder_Key_Pin)!=GPIO_PIN_SET){;}//__key_unpressed__

			if(HAL_GPIO_ReadPin(Encoder_Key_GPIO_Port, Encoder_Key_Pin)==GPIO_PIN_RESET)
			{HAL_GPIO_WritePin(GPIOD, GPIO_PIN_13, GPIO_PIN_SET);}else
			{HAL_GPIO_WritePin(GPIOD, GPIO_PIN_13, GPIO_PIN_RESET);}
			if(Menu_Enter==0){LCD_Clear();return currCounter;}

    		HAL_Delay(50);
    		while(Menu_Enter)
    		{
    			HAL_GPIO_WritePin(GPIOD, GPIO_PIN_12, GPIO_PIN_SET);
    			if (Step==0){
        		switch(Menu_Enter)
        		{
        		case 0: ; break;

        		case 1:
        			LCD_Clear();
					L_string=sprintf(String_to_UART,"\n\r_Menu_Enter=1_");
					HAL_UART_Transmit(&TerminalInterface, (uint8_t*)String_to_UART, L_string,16);
					L_string=sprintf(String_0_to_LCD,"Var_0 %06f",(float)(*Var_0));
        			break;

        		case 2:
        			LCD_Clear();
    				L_string=sprintf(String_to_UART,"\n\r_Menu_Enter=2_");
    				HAL_UART_Transmit(&TerminalInterface, (uint8_t*)String_to_UART, L_string,16);
    				L_string=sprintf(String_0_to_LCD,"Var_1 %06f",(float)(*Var_1));
        			break;

        		case 3:
        			LCD_Clear();
    				L_string=sprintf(String_to_UART,"\n\r_Menu_Enter=3_");
    				HAL_UART_Transmit(&TerminalInterface, (uint8_t*)String_to_UART, L_string,16);
    				L_string=sprintf(String_0_to_LCD,"Var_2 %06f",(float)(*Var_2));
        			break;
        		default: break;
        		}
				LCD_SetPos(0, 0);HAL_Delay(10);
				LCD_String(String_0_to_LCD);	HAL_Delay(10);
        		Timeout=HAL_GetTick();
        		Step=1;
    			}///if (Step==0)
			do{
        		encoderStatus = Encoder_Get_Status();
				if(encoderStatus==Incremented)
				{
					Timeout=HAL_GetTick();
					switch(Menu_Enter)
	        		{
	        		case 0: ; break;

	        		case 1:
	        			*Var_0 = (*Var_0) + 1;
	        			L_string=sprintf(String_0_to_LCD,"Var_0 %06f",(float)(*Var_0));
	        			break;

	        		case 2:
	        			*Var_1 = (*Var_1) + 1;
	        			L_string=sprintf(String_0_to_LCD,"Var_1 %06f",(float)(*Var_1));
	        			break;

	        		case 3:
	        			*Var_2 = (*Var_2) + 1;
	        			L_string=sprintf(String_0_to_LCD,"Var_2 %06f",(float)(*Var_2));
	        			break;
	        		default: break;
	        		}//switch
				LCD_SetPos(0, 0);				HAL_Delay(100);
				LCD_String(String_0_to_LCD);	HAL_Delay(100);

				}///if(encoderStatus==Incremented)

				if(encoderStatus==Decremented)
				{
					Timeout=HAL_GetTick();
					switch(Menu_Enter)
	        		{
	        		case 0: Timeout = 0; break;

	        		case 1:
	        			*Var_0 = (*Var_0) - 1;
	        			L_string=sprintf(String_0_to_LCD,"Var_0 %d",(*Var_0));
	        			break;

	        		case 2:
	        			*Var_1 = (*Var_1) - 1;
	        			L_string=sprintf(String_0_to_LCD,"Var_1 %d",(*Var_1));
	        			break;

	        		case 3:
	        			*Var_2 = (*Var_2) - 1;
	        			L_string=sprintf(String_0_to_LCD,"Var_2 %d",(*Var_2));
	        			break;
	        		default: break;
	        		}//switch

				LCD_SetPos(0, 0);				HAL_Delay(100);
				LCD_String(String_0_to_LCD);	HAL_Delay(100);
				}

				if(HAL_GPIO_ReadPin(Encoder_Key_GPIO_Port, Encoder_Key_Pin)==GPIO_PIN_RESET)
				{
					HAL_Delay(200);
					L_string=sprintf(String_1_to_LCD,"Ready? Y or N     ");
					LCD_SetPos(0, 1);				HAL_Delay(10);
					LCD_String(String_1_to_LCD);	HAL_Delay(200);

					Timeout=HAL_GetTick();
				while(
					  (HAL_GetTick()-Timeout<5432)
					  ||(Encoder_Get_Status()==Decremented)
					  ||(Encoder_Get_Status()==Incremented) )
					{
					if(HAL_GetTick()-Timeout>5432)
						{Menu_Enter=0;
						LCD_Clear();HAL_Delay(10);
						 return currCounter;}//exit_from_menu_after_timeout

					encoderStatus = Encoder_Get_Status();
					if(encoderStatus==Incremented)
					{
					L_string=sprintf(String_1_to_LCD,"Yes Ready to Next");
					LCD_SetPos(0, 1);				HAL_Delay(100);
					LCD_String(String_1_to_LCD);	HAL_Delay(200);
					L_string=sprintf(String_0_to_LCD,"Press Key      ");
					LCD_SetPos(0, 0);				HAL_Delay(10);
					LCD_String(String_0_to_LCD);	HAL_Delay(200);
					Timeout=HAL_GetTick();
					while(HAL_GPIO_ReadPin(Encoder_Key_GPIO_Port, Encoder_Key_Pin)!=GPIO_PIN_RESET)
					{
						if(HAL_GetTick()-Timeout>7654){LCD_Clear();HAL_Delay(10);
														return currCounter;}//exit_from_menu_after_timeout
					}
					Menu_Enter++;
					if(Menu_Enter>3){Menu_Enter=0;}
					Step=0;
					}//if(encoderStatus==Incremented)

					if(encoderStatus==Decremented)
					{
					L_string=sprintf(String_1_to_LCD,"No, Out from Menu  ");
					LCD_SetPos(0, 1);				HAL_Delay(10);
					LCD_String(String_1_to_LCD);	HAL_Delay(200);

					L_string=sprintf(String_0_to_LCD,"Press Key      ");
					LCD_SetPos(0, 0);				HAL_Delay(10);
					LCD_String(String_0_to_LCD);	HAL_Delay(200);
					Timeout=HAL_GetTick();
					while(HAL_GPIO_ReadPin(Encoder_Key_GPIO_Port, Encoder_Key_Pin)!=GPIO_PIN_RESET)
					{
						if(HAL_GetTick()-Timeout>7654){LCD_Clear();HAL_Delay(10);
														return currCounter;}//exit_from_menu_after_timeout
					}
					Menu_Enter=0;
					}//if(encoderStatus==Decremented)

					}//while ||(Encoder_Get_Status

				encoderStatus = Encoder_Get_Status();
				if(encoderStatus==Incremented)
					{
					L_string=sprintf(String_0_to_LCD,"Press Key     ");
					LCD_SetPos(0, 0);				HAL_Delay(100);
					LCD_String(String_0_to_LCD);	HAL_Delay(200);
					Timeout=HAL_GetTick();
					while(HAL_GPIO_ReadPin(Encoder_Key_GPIO_Port, Encoder_Key_Pin)!=GPIO_PIN_RESET){}
					Menu_Enter=2;
					}//if(encoderStatus==Incremented)

				if(encoderStatus==Decremented)
					{
					L_string=sprintf(String_0_to_LCD,"Press Key      ");
					LCD_SetPos(0, 0);				HAL_Delay(10);
					LCD_String(String_0_to_LCD);	HAL_Delay(200);
					Timeout=HAL_GetTick();
					while(HAL_GPIO_ReadPin(Encoder_Key_GPIO_Port, Encoder_Key_Pin)!=GPIO_PIN_RESET){}
					Menu_Enter=0;
					}//if(encoderStatus==Incremented)

				}

			  }while((HAL_GetTick()-Timeout<5432)&&(Menu_Enter!=0));

			  if(HAL_GetTick()-Timeout>5432){LCD_Clear();HAL_Delay(10);Menu_Enter=0;}//exit_from_menu_after_timeout

    		}//while(Menu_Enter)

    	}//if(HAL_GPIO_ReadPin

  		    	return (currCounter);
    }///LCD_Menu_Encoder_with_Key()

/////////////////////////////////////////////////////////////////////

/* USER CODE END 4 */

void Error_Handler(void)
{
  /* USER CODE BEGIN Error_Handler_Debug */
	HAL_GPIO_WritePin(GPIOD, GPIO_PIN_12, GPIO_PIN_SET);
  /* User can add his own implementation to report the HAL error return state */
  __disable_irq();
  while (1)
  {
  }
  /* USER CODE END Error_Handler_Debug */
}
